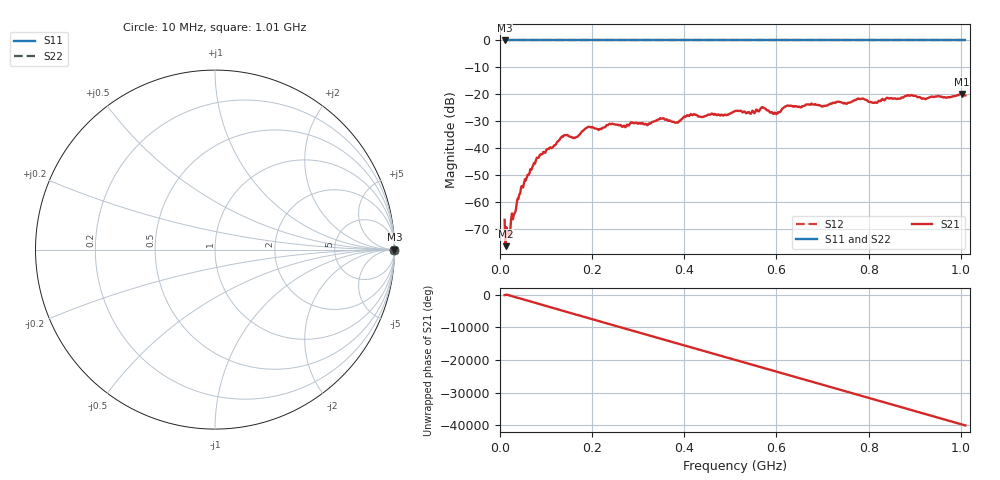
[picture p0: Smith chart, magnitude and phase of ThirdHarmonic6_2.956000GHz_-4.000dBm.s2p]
! 8/17/2025 8:19:32 AM
! C:\ANRITSUVNA\TEMP\TEMP.S2P
! CHANNEL.1
! TR.MEASUREMENT
! RAW.DATA
! RF.CORRECTION.OFF
! AVERAGING.OFF
! IF.BANDWIDTH: 5KHZ
! SWEEPTYPE:  FREQ.SWEEP(Linear)
! Reference Plane Port Info
! PORT:  PORT1  PORT2
! DISTANCE:  0  m  0  m
! TIME:  0  s  0  s
! PHASE.OFFSET:  0  deg.  0  deg.
! LOSS:  0  dB  0  dB
! REF.LOSS:  0  dB  0  dB
! REF.FREQ:  0  Hz  0  Hz
! Power Info
! POWER:  -20  dBm  -20  dBm
! EFF.POWER:  -20  dBm  -20  dBm
! SOURCE.ATTEN:  0  dB  0  dB
! TEST.ATTEN:  0  dB  0  dB
# GHZ S RI R 50.0
! FREQ.GHZ  S11RE  S11IM  S21RE  S21IM  S12RE  S12IM  S22RE  S22IM
!; PortSelection: Port_12
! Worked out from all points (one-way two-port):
!   501 points, 10 MHz to 1.01 GHz, reference 50 ohm
!   highest |S21| = -19.84 dB at 1.002 GHz (marker M1); lowest = -76.2 dB at 12 MHz (marker M2)
!   lowest |S11| = 0.0 dB at 10 MHz (marker M3)
!   |S11| at or under -10 dB: nowhere
!   |S22| runs from 0.0 to 0.0 dB; largest |S21 - S12| = 1.1
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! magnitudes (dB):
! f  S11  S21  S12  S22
! 10 MHz  0.0  -66.5  0.0  0.0
! 12 MHz  0.0  -76.2  0.0  0.0
! 16 MHz  0.0  -71.1  0.0  0.0
! 50 MHz  0.0  -54.5  0.0  0.0
! 84 MHz  0.0  -43.4  0.0  0.0
! 136 MHz  0.0  -35.8  0.0  0.0
! 162 MHz  0.0  -36.2  0.0  0.0
! 178 MHz  0.0  -33.7  0.0  0.0
! 192 MHz  0.0  -32.0  0.0  0.0
! 318 MHz  0.0  -31.1  0.0  0.0
! 344 MHz  0.0  -29.3  0.0  0.0
! 384 MHz  0.0  -30.3  0.0  0.0
! 410 MHz  0.0  -28.0  0.0  0.0
! 510 MHz  0.0  -26.1  0.0  0.0
! 570 MHz  0.0  -24.7  0.0  0.0
! 598 MHz  0.0  -26.8  0.0  0.0
! 622 MHz  0.0  -24.3  0.0  0.0
! 678 MHz  0.0  -23.7  0.0  0.0
! 814 MHz  0.0  -22.9  0.0  0.0
! 844 MHz  0.0  -21.5  0.0  0.0
! 1.002 GHz  0.0  -19.8  0.0  0.0
! 1.01 GHz  0.0  -20.4  0.0  0.0
